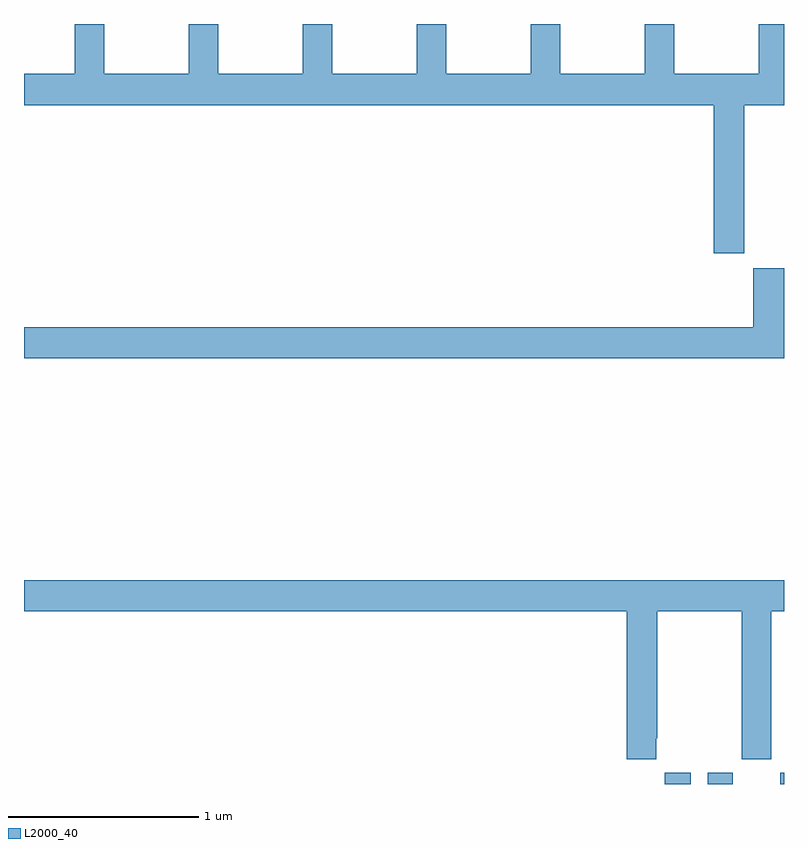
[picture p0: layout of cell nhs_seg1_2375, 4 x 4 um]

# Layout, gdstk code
import gdstk
lib = gdstk.Library(unit=1e-6, precision=1e-09)
def R(c, l, rs):  # rectangles x0, y0, x1, y1
    for r in rs: c.add(gdstk.rectangle(r[:2], r[2:], *l))
def P(c, l, *ps):  # polygons
    for p in ps: c.add(gdstk.Polygon(p, *l))
L2000_40 = (2000, 40)

nhs_seg1_2375 = lib.new_cell('nhs_seg1_2375')
R(nhs_seg1_2375, L2000_40, [(244.373,508.199,244.51,508.258), (244.598,508.199,244.729,508.258), (244.979,508.199,245,508.258)])
P(nhs_seg1_2375, L2000_40, [(241.267,511.936),(241,511.936),(241,511.772),(244.631,511.772),(244.631,510.993),(244.791,510.993),(244.791,511.772),(245,511.772),(245,512.199),(244.867,512.199),(244.867,511.936),(244.422,511.936),(244.422,512.199),(244.267,512.199),(244.267,511.936),(243.822,511.936),(243.822,512.199),(243.667,512.199),(243.667,511.936),(243.222,511.936),(243.222,512.199),(243.067,512.199),(243.067,511.936),(242.622,511.936),(242.622,512.199),(242.467,512.199),(242.467,511.936),(242.022,511.936),(242.022,512.199),(241.867,512.199),(241.867,511.936),(241.422,511.936),(241.422,512.199),(241.267,512.199)],
  [(245,510.913),(244.838,510.913),(244.838,510.604),(241,510.604),(241,510.44),(245,510.44)],
  [(244.327,508.441),(244.332,508.441),(244.332,509.108),(244.777,509.108),(244.777,508.329),(244.932,508.329),(244.932,509.108),(245,509.108),(245,509.272),(241,509.272),(241,509.108),(244.172,509.108),(244.172,508.329),(244.327,508.329)])

lib.write_gds('nhs_seg1_2375.gds')
